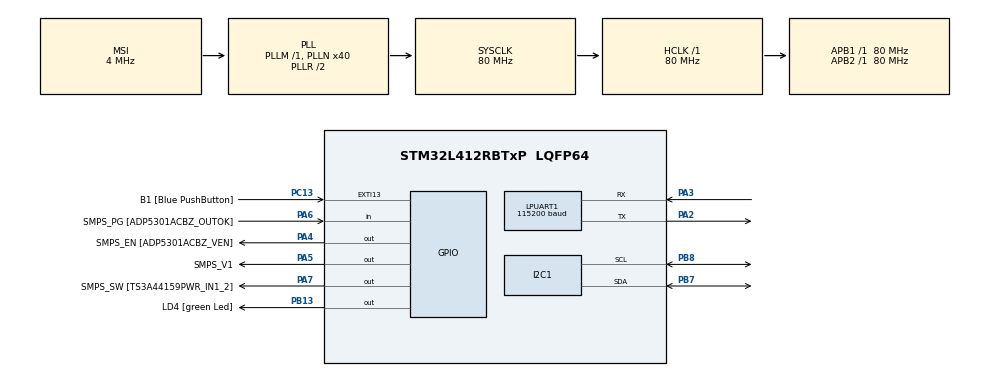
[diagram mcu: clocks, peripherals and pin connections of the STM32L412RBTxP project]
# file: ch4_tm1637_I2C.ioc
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I2C1.Timing=0x10D19CE4
LPUART1.BaudRate=115200
LPUART1.WordLength=UART_WORDLENGTH_8B
Mcu.Family=STM32L4
Mcu.Name=STM32L412RBTxP
Mcu.Package=LQFP64
NVIC.PriorityGroup=NVIC_PRIORITYGROUP_4
PA13\ (JTMS/SWDIO).GPIO_Label=TMS
PA13\ (JTMS/SWDIO).Mode=Serial_Wire
PA13\ (JTMS/SWDIO).Signal=SYS_JTMS-SWDIO
PA14\ (JTCK/SWCLK).GPIO_Label=TCK
PA14\ (JTCK/SWCLK).Mode=Serial_Wire
PA14\ (JTCK/SWCLK).Signal=SYS_JTCK-SWCLK
PA2.Mode=Asynchronous
PA2.Signal=LPUART1_TX
PA3.Mode=Asynchronous
PA3.Signal=LPUART1_RX
PA4.GPIO_Label=SMPS_EN [ADP5301ACBZ_VEN]
PA4.Signal=GPIO_Output
PA5.GPIO_Label=SMPS_V1
PA5.GPIO_ModeDefaultOutputPP=GPIO_MODE_OUTPUT_PP
PA5.GPIO_PuPd=GPIO_NOPULL
PA5.GPIO_Speed=GPIO_SPEED_FREQ_LOW
PA5.Signal=GPIO_Output
PA6.GPIO_Label=SMPS_PG [ADP5301ACBZ_OUTOK]
PA6.GPIO_PuPd=GPIO_PULLUP
PA6.Signal=GPIO_Input
PA7.GPIO_Label=SMPS_SW [TS3A44159PWR_IN1_2]
PA7.Signal=GPIO_Output
PB13.GPIO_Label=LD4 [green Led]
PB13.Signal=GPIO_Output
PB3\ (JTDO/TRACESWO).GPIO_Label=SWO
PB3\ (JTDO/TRACESWO).Signal=SYS_JTDO-SWO
PB7.GPIO_Mode=GPIO_MODE_AF_OD
PB7.GPIO_Pu=GPIO_PULLUP
PB7.GPIO_Speed=GPIO_SPEED_FREQ_LOW
PB7.Mode=I2C
PB7.Signal=I2C1_SDA
PB8.GPIO_FM8=__NULL
PB8.GPIO_Pu=GPIO_PULLUP
PB8.GPIO_Speed=GPIO_SPEED_FREQ_LOW
PB8.Mode=I2C
PB8.Signal=I2C1_SCL
PC13.GPIO_Label=B1 [Blue PushButton]
PC13.GPIO_ModeDefaultEXTI=GPIO_MODE_IT_FALLING
PC13.GPIO_PuPd=GPIO_NOPULL
PC13.Signal=GPXTI13
PC14-OSC32_IN\ (PC14).Mode=LSE-External-Oscillator
PC14-OSC32_IN\ (PC14).Signal=RCC_OSC32_IN
PC15-OSC32_OUT\ (PC15).Mode=LSE-External-Oscillator
PC15-OSC32_OUT\ (PC15).Signal=RCC_OSC32_OUT
PH0-OSC_IN\ (PH0).GPIO_Label=MCO
PH0-OSC_IN\ (PH0).Mode=HSE-External-Clock-Source
PH0-OSC_IN\ (PH0).Signal=RCC_OSC_IN
PH1-OSC_OUT\ (PH1).Signal=RCC_OSC_OUT
ProjectManager.HeapSize=0x200
ProjectManager.StackSize=0x400
ProjectManager.TargetToolchain=STM32CubeIDE
RCC.ADCFreq_Value=80000000
RCC.AHBFreq_Value=80000000
RCC.APB1Freq_Value=80000000
RCC.APB1TimFreq_Value=80000000
RCC.APB2Freq_Value=80000000
RCC.APB2TimFreq_Value=80000000
RCC.CortexFreq_Value=80000000
RCC.FLatency=FLASH_LATENCY_4
RCC.HCLKFreq_Value=80000000
RCC.HSE_VALUE=8000000
RCC.HSI48_VALUE=48000000
RCC.HSICalibrationValue=64
RCC.HSI_VALUE=16000000
RCC.MSIAutoCalibration=DISABLED
RCC.MSI_VALUE=4000000
RCC.PLLN=40
RCC.PREFETCH_ENABLE=1
RCC.SYSCLKFreq_VALUE=80000000
RCC.SYSCLKSource=RCC_SYSCLKSOURCE_PLLCLK
RCC.USBFreq_Value=4000000
RCC.VCOOutputFreq_Value=160000000
board=NUCLEO-L412RB-P

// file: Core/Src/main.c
/* USER CODE BEGIN Header */
/**
  ******************************************************************************
  * @file           : main.c
  * @brief          : Main program body
  ******************************************************************************
  * @attention
  *
  * Copyright (c) 2026 STMicroelectronics.
  * All rights reserved.
  *
  * This software is licensed under terms that can be found in the LICENSE file
  * in the root directory of this software component.
  * If no LICENSE file comes with this software, it is provided AS-IS.
  *
  ******************************************************************************
  */
/* USER CODE END Header */
#include "main.h"

I2C_HandleTypeDef hi2c1;

UART_HandleTypeDef hlpuart1;

/* USER CODE BEGIN PV */
// UART로 출력 보내기 위한 함수
int _write(int file, char *ptr, int len) {

  //(void)file;
  HAL_UART_Transmit(&hlpuart1, (uint8_t *)ptr, len, HAL_MAX_DELAY);
  return len;

}
/* USER CODE END PV */

void SystemClock_Config(void);
static void MX_GPIO_Init(void);
static void MX_I2C1_Init(void);
static void MX_LPUART1_UART_Init(void);

/* USER CODE BEGIN 0 */
uint8_t f_status = 0;
uint8_t i2c_buff[20];

uint8_t cmd_1st = 0x40;
uint8_t cmd_2nd = 0xC0;
uint8_t cmd_3rd = 0x8F;
uint8_t data[] = {0xFF, 0xFF, 0xFF, 0xFF};
uint8_t read_data[2] = {0x73,0};

uint8_t device_address= 0x3a;
uint8_t reg_address[2]={0x73 ,0x3a};
uint8_t *init_address =0x73;

void HAL_I2C_MasterTxCpltCallback(I2C_HandleTypeDef *hi2c) {
  f_status = 1;
  printf("found!! \r\n ");
}

void HAL_I2C_MasterRxCpltCallback(I2C_HandleTypeDef *hi2c) {

}

void I2C_Add_Search(void) {

  for (uint8_t i=0; i<128; i++) {
  f_status = 0;
  HAL_I2C_Master_Transmit_DMA(&hi2c1, i << 1, i2c_buff, 1);
  HAL_Delay(10);
  if (f_status == 1) {
    printf("address : %#x \r\n",i);
  	  }
  }
}

uint8_t reverse_8bit(uint8_t input) {
  uint8_t output = 0;

  for (int i =0; i<7; i++) {
    output = output | (input & 0x01);
    output = output << 1;
    input = input >> 1;
  }

  return output;
}
/* USER CODE END 0 */

int main(void)
{

  /* MCU Configuration--------------------------------------------------------*/

  /* Reset of all peripherals, Initializes the Flash interface and the Systick. */
  HAL_Init();

  /* Configure the system clock */
  SystemClock_Config();

  /* Initialize all configured peripherals */
  MX_GPIO_Init();
  MX_I2C1_Init();
  MX_LPUART1_UART_Init();
  /* USER CODE BEGIN 2 */
  printf("LPUART printf test \r\n");

  // 모듈 주소 출력 테스트
  HAL_StatusTypeDef module_status;
  for (uint8_t i = 0; i < 128; i++) {
    HAL_Delay(10);

    module_status = HAL_I2C_IsDeviceReady(&hi2c1, i << 1, 3, 10);
    if (module_status == HAL_OK) {
      printf("module address : %#x \r\n",i);
    }
  }

  ("reg_address : %#x \r\n",reg_address);

  // HAL_I2C_Master_Receive 사용하여 register의 data read
  // HAL_I2C_Master_Transmit(&hi2c1, device_address, *reg_address, 1, 50);

  HAL_I2C_Master_Transmit(&hi2c1, device_address, *init_address, 1, 50);
  HAL_I2C_Master_Receive(&hi2c1, device_address, read_data, 2, 50);
  // 동일한 데이터 읽어옴
  printf("read_data : %#x \r\n",read_data[2]);

  for (int i=0; i<strlen(data); i++) {
    printf("data[%d] : %#x \r\n",i,data[i]);
  }
  for (int i=0; i<strlen(data); i++) {
    data[i] = reverse_8bit(data[i]);
  }

  uint8_t *test_data = 0;
  printf("TM1637 I2C Test :  \r\n");
//  HAL_I2C_Master_Transmit(&hi2c1,reverse_8bit(0x01),NULL,0,HAL_MAX_DELAY); // 0x80
//  HAL_I2C_Master_Transmit(&hi2c1,reverse_8bit(0x02),NULL,0,HAL_MAX_DELAY); // 0x40
//  HAL_I2C_Master_Transmit(&hi2c1,reverse_8bit(0x04),NULL,0,HAL_MAX_DELAY); // 0x20
//  HAL_I2C_Master_Transmit(&hi2c1,reverse_8bit(0x08),NULL,0,HAL_MAX_DELAY); // 0x10
//  HAL_I2C_Master_Transmit(&hi2c1,reverse_8bit(0x10),NULL,0,HAL_MAX_DELAY); // 0x08
//  HAL_I2C_Master_Transmit(&hi2c1,reverse_8bit(0x20),NULL,0,HAL_MAX_DELAY); // 0x04
//  HAL_I2C_Master_Transmit(&hi2c1,reverse_8bit(0x40),NULL,0,HAL_MAX_DELAY); // 0x02
//  HAL_I2C_Master_Transmit(&hi2c1,reverse_8bit(0x80),NULL,0,HAL_MAX_DELAY); // 0x01

  HAL_I2C_Master_Transmit(&hi2c1,reverse_8bit(cmd_1st),NULL,0,HAL_MAX_DELAY); // 0x80

  HAL_I2C_Master_Transmit(&hi2c1,reverse_8bit(cmd_2nd),data,sizeof(data),HAL_MAX_DELAY);

  HAL_I2C_Master_Transmit(&hi2c1,reverse_8bit(cmd_3rd),test_data,0,HAL_MAX_DELAY);

  printf("Begin I2C_Add_Search() \r\n");
  I2C_Add_Search();

  /* USER CODE END 2 */

  /* Infinite loop */
  while (1)
  {

  }
}

void SystemClock_Config(void)
{
  RCC_OscInitTypeDef RCC_OscInitStruct = {0};
  RCC_ClkInitTypeDef RCC_ClkInitStruct = {0};

  /** Configure the main internal regulator output voltage
  */
  if (HAL_PWREx_ControlVoltageScaling(PWR_REGULATOR_VOLTAGE_SCALE1) != HAL_OK)
  {
    Error_Handler();
  }

  /** Initializes the RCC Oscillators according to the specified parameters
  * in the RCC_OscInitTypeDef structure.
  */
  RCC_OscInitStruct.OscillatorType = RCC_OSCILLATORTYPE_MSI;
  RCC_OscInitStruct.MSIState = RCC_MSI_ON;
  RCC_OscInitStruct.MSICalibrationValue = 0;
  RCC_OscInitStruct.MSIClockRange = RCC_MSIRANGE_6;
  RCC_OscInitStruct.PLL.PLLState = RCC_PLL_ON;
  RCC_OscInitStruct.PLL.PLLSource = RCC_PLLSOURCE_MSI;
  RCC_OscInitStruct.PLL.PLLM = 1;
  RCC_OscInitStruct.PLL.PLLN = 40;
  RCC_OscInitStruct.PLL.PLLQ = RCC_PLLQ_DIV2;
  RCC_OscInitStruct.PLL.PLLR = RCC_PLLR_DIV2;
  if (HAL_RCC_OscConfig(&RCC_OscInitStruct) != HAL_OK)
  {
    Error_Handler();
  }

  /** Initializes the CPU, AHB and APB buses clocks
  */
  RCC_ClkInitStruct.ClockType = RCC_CLOCKTYPE_HCLK|RCC_CLOCKTYPE_SYSCLK
                              |RCC_CLOCKTYPE_PCLK1|RCC_CLOCKTYPE_PCLK2;
  RCC_ClkInitStruct.SYSCLKSource = RCC_SYSCLKSOURCE_PLLCLK;
  RCC_ClkInitStruct.AHBCLKDivider = RCC_SYSCLK_DIV1;
  RCC_ClkInitStruct.APB1CLKDivider = RCC_HCLK_DIV1;
  RCC_ClkInitStruct.APB2CLKDivider = RCC_HCLK_DIV1;

  if (HAL_RCC_ClockConfig(&RCC_ClkInitStruct, FLASH_LATENCY_4) != HAL_OK)
  {
    Error_Handler();
  }
}

static void MX_I2C1_Init(void)
{

  hi2c1.Instance = I2C1;
  hi2c1.Init.Timing = 0x10D19CE4;
  hi2c1.Init.OwnAddress1 = 0;
  hi2c1.Init.AddressingMode = I2C_ADDRESSINGMODE_7BIT;
  hi2c1.Init.DualAddressMode = I2C_DUALADDRESS_DISABLE;
  hi2c1.Init.OwnAddress2 = 0;
  hi2c1.Init.OwnAddress2Masks = I2C_OA2_NOMASK;
  hi2c1.Init.GeneralCallMode = I2C_GENERALCALL_DISABLE;
  hi2c1.Init.NoStretchMode = I2C_NOSTRETCH_DISABLE;
  if (HAL_I2C_Init(&hi2c1) != HAL_OK)
  {
    Error_Handler();
  }

  /** Configure Analogue filter
  */
  if (HAL_I2CEx_ConfigAnalogFilter(&hi2c1, I2C_ANALOGFILTER_ENABLE) != HAL_OK)
  {
    Error_Handler();
  }

  /** Configure Digital filter
  */
  if (HAL_I2CEx_ConfigDigitalFilter(&hi2c1, 0) != HAL_OK)
  {
    Error_Handler();
  }

}

static void MX_LPUART1_UART_Init(void)
{

  hlpuart1.Instance = LPUART1;
  hlpuart1.Init.BaudRate = 115200;
  hlpuart1.Init.WordLength = UART_WORDLENGTH_8B;
  hlpuart1.Init.StopBits = UART_STOPBITS_1;
  hlpuart1.Init.Parity = UART_PARITY_NONE;
  hlpuart1.Init.Mode = UART_MODE_TX_RX;
  hlpuart1.Init.HwFlowCtl = UART_HWCONTROL_NONE;
  hlpuart1.Init.OneBitSampling = UART_ONE_BIT_SAMPLE_DISABLE;
  hlpuart1.AdvancedInit.AdvFeatureInit = UART_ADVFEATURE_NO_INIT;
  if (HAL_UART_Init(&hlpuart1) != HAL_OK)
  {
    Error_Handler();
  }

}

static void MX_GPIO_Init(void)
{
  GPIO_InitTypeDef GPIO_InitStruct = {0};

  /* GPIO Ports Clock Enable */
  __HAL_RCC_GPIOC_CLK_ENABLE();
  __HAL_RCC_GPIOH_CLK_ENABLE();
  __HAL_RCC_GPIOA_CLK_ENABLE();
  __HAL_RCC_GPIOB_CLK_ENABLE();

  /*Configure GPIO pin Output Level */
  HAL_GPIO_WritePin(GPIOA, SMPS_EN_Pin|SMPS_V1_Pin|SMPS_SW_Pin, GPIO_PIN_RESET);

  /*Configure GPIO pin Output Level */
  HAL_GPIO_WritePin(LD4_GPIO_Port, LD4_Pin, GPIO_PIN_RESET);

  /*Configure GPIO pin : B1_Pin */
  GPIO_InitStruct.Pin = B1_Pin;
  GPIO_InitStruct.Mode = GPIO_MODE_IT_FALLING;
  GPIO_InitStruct.Pull = GPIO_NOPULL;
  HAL_GPIO_Init(B1_GPIO_Port, &GPIO_InitStruct);

  /*Configure GPIO pins : SMPS_EN_Pin SMPS_V1_Pin SMPS_SW_Pin */
  GPIO_InitStruct.Pin = SMPS_EN_Pin|SMPS_V1_Pin|SMPS_SW_Pin;
  GPIO_InitStruct.Mode = GPIO_MODE_OUTPUT_PP;
  GPIO_InitStruct.Pull = GPIO_NOPULL;
  GPIO_InitStruct.Speed = GPIO_SPEED_FREQ_LOW;
  HAL_GPIO_Init(GPIOA, &GPIO_InitStruct);

  /*Configure GPIO pin : SMPS_PG_Pin */
  GPIO_InitStruct.Pin = SMPS_PG_Pin;
  GPIO_InitStruct.Mode = GPIO_MODE_INPUT;
  GPIO_InitStruct.Pull = GPIO_PULLUP;
  HAL_GPIO_Init(SMPS_PG_GPIO_Port, &GPIO_InitStruct);

  /*Configure GPIO pin : LD4_Pin */
  GPIO_InitStruct.Pin = LD4_Pin;
  GPIO_InitStruct.Mode = GPIO_MODE_OUTPUT_PP;
  GPIO_InitStruct.Pull = GPIO_NOPULL;
  GPIO_InitStruct.Speed = GPIO_SPEED_FREQ_LOW;
  HAL_GPIO_Init(LD4_GPIO_Port, &GPIO_InitStruct);

}

void Error_Handler(void)
{
  __disable_irq();
  while (1)
  {
  }
}
